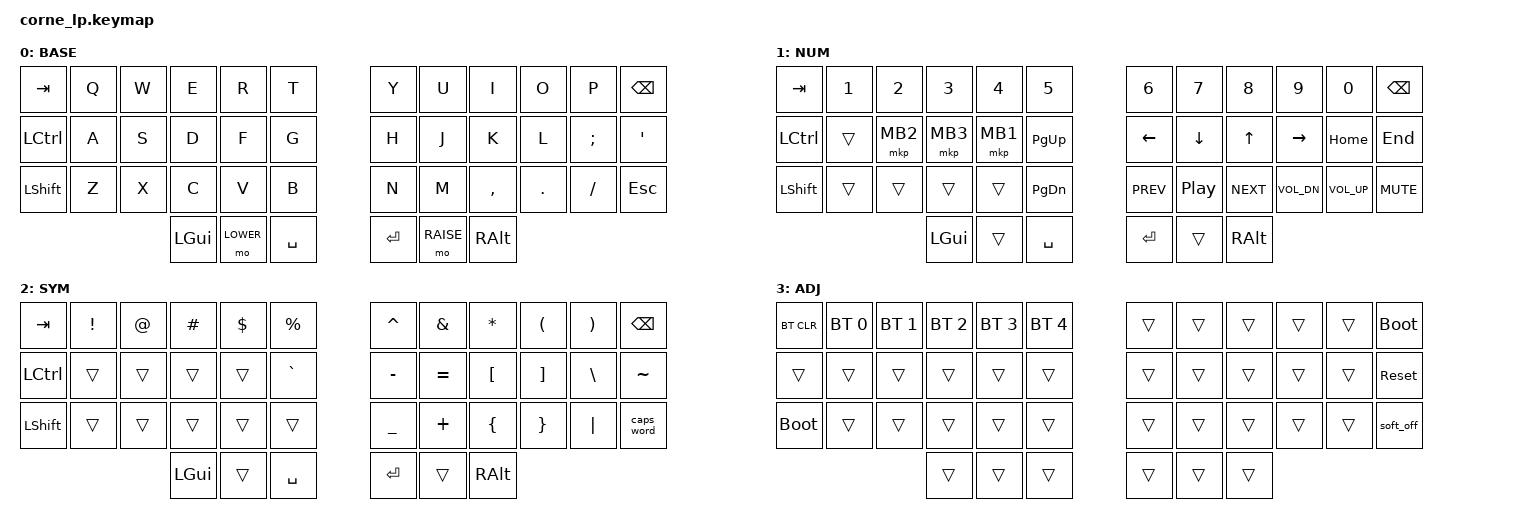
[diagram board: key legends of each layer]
/*
 * Corne LP keymap (42 keys).
 * Edit visually at https://nickcoutsos.github.io/keymap-editor/ if you like.
 *
 * Layer names show on the left OLED (keep them 5 characters or less).
 */
#include <behaviors.dtsi>
#include <dt-bindings/zmk/keys.h>
#include <dt-bindings/zmk/bt.h>
#include <dt-bindings/zmk/pointing.h>

#define BASE 0
#define LOWER 1
#define RAISE 2
#define ADJ 3

/ {
    conditional_layers {
        compatible = "zmk,conditional-layers";
        adjust {
            if-layers = <LOWER RAISE>;
            then-layer = <ADJ>;
        };
    };

    keymap {
        compatible = "zmk,keymap";

        base_layer {
            display-name = "BASE";
// ,-----------------------------------------.                    ,-----------------------------------------.
// |  TAB |   Q  |   W  |   E  |   R  |   T  |                    |   Y  |   U  |   I  |   O  |   P  | BKSP |
// | CTRL |   A  |   S  |   D  |   F  |   G  |                    |   H  |   J  |   K  |   L  |   ;  |   '  |
// | SHFT |   Z  |   X  |   C  |   V  |   B  |                    |   N  |   M  |   ,  |   .  |   /  |  ESC |
//                             |  GUI | LOWR |  SPC |      | ENT  | RAIS | ALT  |
            bindings = <
&kp TAB   &kp Q &kp W &kp E &kp R &kp T        &kp Y &kp U  &kp I     &kp O   &kp P    &kp BSPC
&kp LCTRL &kp A &kp S &kp D &kp F &kp G        &kp H &kp J  &kp K     &kp L   &kp SEMI &kp SQT
&kp LSHFT &kp Z &kp X &kp C &kp V &kp B        &kp N &kp M  &kp COMMA &kp DOT &kp FSLH &kp ESC
              &kp LGUI &mo LOWER &kp SPACE     &kp RET &mo RAISE &kp RALT
            >;
        };

        lower_layer {
            display-name = "NUM";
// numbers, arrows, and mouse buttons for the trackpad
            bindings = <
&kp TAB   &kp N1 &kp N2   &kp N3   &kp N4   &kp N5         &kp N6   &kp N7    &kp N8    &kp N9    &kp N0    &kp BSPC
&kp LCTRL &trans &mkp MB2 &mkp MB3 &mkp MB1 &kp PG_UP      &kp LEFT &kp DOWN  &kp UP    &kp RIGHT &kp HOME  &kp END
&kp LSHFT &trans &trans   &trans   &trans   &kp PG_DN      &kp C_PREV &kp C_PP &kp C_NEXT &kp C_VOL_DN &kp C_VOL_UP &kp C_MUTE
                    &kp LGUI &trans &kp SPACE              &kp RET  &trans    &kp RALT
            >;
        };

        raise_layer {
            display-name = "SYM";
            bindings = <
&kp TAB   &kp EXCL &kp AT   &kp HASH &kp DOLLAR &kp PRCNT     &kp CARET &kp AMPS  &kp ASTRK &kp LPAR &kp RPAR &kp BSPC
&kp LCTRL &trans   &trans   &trans   &trans     &kp GRAVE     &kp MINUS &kp EQUAL &kp LBKT  &kp RBKT &kp BSLH &kp TILDE
&kp LSHFT &trans   &trans   &trans   &trans     &trans        &kp UNDER &kp PLUS  &kp LBRC  &kp RBRC &kp PIPE &caps_word
                    &kp LGUI &trans &kp SPACE                 &kp RET &trans &kp RALT
            >;
        };

        adjust_layer {
            display-name = "ADJ";
// Bluetooth profiles, clear, bootloader (flash new firmware without opening the case)
            bindings = <
&bt BT_CLR &bt BT_SEL 0 &bt BT_SEL 1 &bt BT_SEL 2 &bt BT_SEL 3 &bt BT_SEL 4     &trans &trans &trans &trans &trans &bootloader
&trans     &trans       &trans       &trans       &trans       &trans           &trans &trans &trans &trans &trans &sys_reset
&bootloader &trans      &trans       &trans       &trans       &trans           &trans &trans &trans &trans &trans &soft_off
                         &trans &trans &trans                                    &trans &trans &trans
            >;
        };
    };
};
